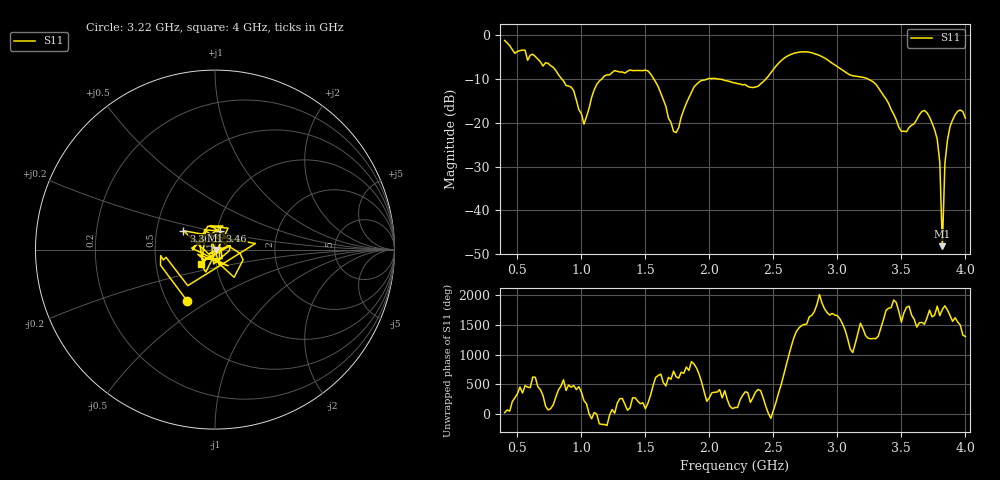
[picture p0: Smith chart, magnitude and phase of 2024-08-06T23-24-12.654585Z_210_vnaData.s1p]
!Created with skrf (http://scikit-rf.org).
# Hz S RI R 50.0
!freq ReS11 ImS11
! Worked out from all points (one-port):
!   181 points, 400 MHz to 4 GHz, reference 50 ohm
!   lowest |S11| = -48.1 dB at 3.82 GHz (marker M1), VSWR 1.01, Z = 50.3 - j0.262 ohm
!   |S11| at or under -10 dB: 1.566 GHz to 1.984 GHz (418 MHz wide, 23.6 % of centre); 2.07 GHz to 2.441 GHz (371.7 MHz wide, 16.5 % of centre); 3.239 GHz to end of sweep (the widest 3 of 4)
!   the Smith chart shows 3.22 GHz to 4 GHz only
!   S11 on the Smith chart (normalised r, x): 3.22 GHz: 0.63, -0.40; 3.36 GHz: 0.69, +0.15; 3.46 GHz: 1.03, +0.22; 4 GHz: 0.84, -0.14
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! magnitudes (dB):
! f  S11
! 400 MHz  -1.2
! 860 MHz  -10.4
! 940 MHz  -12.7
! 1.02 GHz  -20.3
! 1.12 GHz  -11.2
! 1.3 GHz  -8.4
! 1.52 GHz  -8.2
! 1.6 GHz  -11.8
! 1.72 GHz  -22.0
! 1.76 GHz  -21.1
! 1.92 GHz  -10.7
! 2.2 GHz  -10.9
! 2.38 GHz  -11.7
! 2.66 GHz  -4.1
! 3.1 GHz  -9.1
! 3.22 GHz  -9.8
! 3.36 GHz  -13.8
! 3.46 GHz  -19.3
! 3.5 GHz  -21.9
! 3.56 GHz  -21.1
! 3.68 GHz  -17.2
! 3.76 GHz  -21.6
! 3.8 GHz  -29.0
! 3.82 GHz  -48.1
! 3.84 GHz  -29.3
! 3.86 GHz  -23.9
! 3.94 GHz  -17.3
! 4 GHz  -18.9
